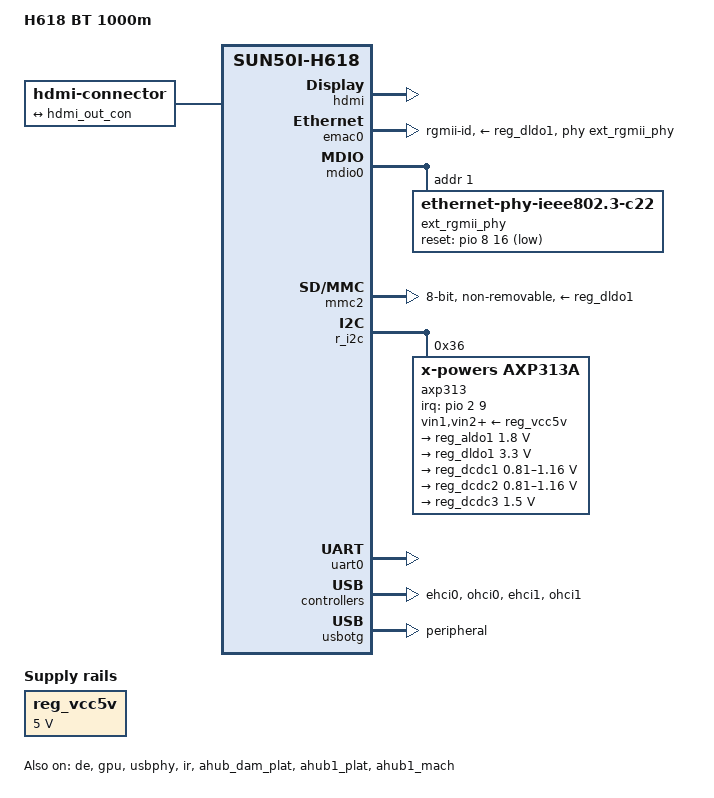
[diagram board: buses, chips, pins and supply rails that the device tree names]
// SPDX-License-Identifier: (GPL-2.0+ OR MIT)

/dts-v1/;

#include "sun50i-h616.dtsi"
#include "sun50i-h616-cpu-opp.dtsi"
#include <dt-bindings/gpio/gpio.h>
#include <dt-bindings/interrupt-controller/arm-gic.h>

/ {
	model = "H618 BT 1000m";
	compatible = "h618,bt-1000m", "allwinner,sun50i-h618";

	aliases {
		ethernet0 = &emac0;
		mmc2 = &mmc2;
		serial0 = &uart0;
	};

	chosen {
		stdout-path = "serial0:115200n8";
	};

	/* HDMI connector (Type-A) */
	connector {
		compatible = "hdmi-connector";
		type = "a";

		port {
			hdmi_con_in: endpoint {
				remote-endpoint = <&hdmi_out_con>;
			};
		};
	};

	/* Board 5 V rail coming from the DC jack */
	reg_vcc5v: regulator-vcc5v {
		compatible = "regulator-fixed";
		regulator-name = "vcc-5v";
		regulator-min-microvolt = <5000000>;
		regulator-max-microvolt = <5000000>;
		regulator-always-on;
	};

};

&cpu0 {
	cpu-supply = <&reg_dcdc2>;
};

&de {
	status = "okay";
};

&gpu {
	mali-supply = <&reg_dcdc1>;
	status = "okay";
};

&hdmi {
	hvcc-supply = <&reg_aldo1>;
	status = "okay";
};

&hdmi_out {
	hdmi_out_con: endpoint {
		remote-endpoint = <&hdmi_con_in>;
	};
};

&emac0 {
	pinctrl-names = "default";
	pinctrl-0 = <&ext_rgmii_pins>;
	phy-mode = "rgmii-id";
	phy-handle = <&ext_rgmii_phy>;
	phy-supply = <&reg_dldo1>;
	status = "okay";
};

/* Override dtsi default to include PI6 (EMAC0_TXCLK) needed by this board */
&ext_rgmii_pins {
	pins = "PI0", "PI1", "PI2", "PI3", "PI4", "PI5", "PI6",
	       "PI7", "PI8", "PI9", "PI10", "PI11", "PI12",
	       "PI13", "PI14", "PI15";
};

&mdio0 {
	ext_rgmii_phy: ethernet-phy@1 {
		compatible = "ethernet-phy-ieee802.3-c22";
		reg = <1>;
		reset-gpios = <&pio 8 16 GPIO_ACTIVE_LOW>;	/* PI16 */
		reset-assert-us = <30000>;
		reset-deassert-us = <150000>;
	};
};

&mmc2 {
	vmmc-supply = <&reg_dldo1>;
	vqmmc-supply = <&reg_aldo1>;
	bus-width = <8>;
	non-removable;
	cap-mmc-hw-reset;
	mmc-ddr-1_8v;
	mmc-hs200-1_8v;
	status = "okay";
};

&pio {
	vcc-pc-supply = <&reg_aldo1>; /* PC bank feeds eMMC (1.8 V) */
	vcc-ph-supply = <&reg_dldo1>;
	vcc-pi-supply = <&reg_dldo1>; /* PI bank: RMII lines */
};


&r_i2c {
	status = "okay";

	axp313: pmic@36 {
		compatible = "x-powers,axp313a";
		reg = <0x36>;
		#interrupt-cells = <1>;
		interrupt-controller;
		interrupt-parent = <&pio>;
		interrupts = <2 9 IRQ_TYPE_LEVEL_LOW>;	/* PC9 */

		vin1-supply = <&reg_vcc5v>;
		vin2-supply = <&reg_vcc5v>;
		vin3-supply = <&reg_vcc5v>;

		regulators {

			reg_aldo1: aldo1 {
				regulator-always-on;
				regulator-min-microvolt = <1800000>;
				regulator-max-microvolt = <1800000>;
				regulator-name = "vcc1v8";
			};

			reg_dldo1: dldo1 {
				regulator-always-on;
				regulator-min-microvolt = <3300000>;
				regulator-max-microvolt = <3300000>;
				regulator-name = "vcc3v3";
			};

			reg_dcdc1: dcdc1 {
				regulator-always-on;
				regulator-min-microvolt = <810000>;
				regulator-max-microvolt = <1160000>;
				regulator-step-delay-us = <25>;
				regulator-final-delay-us = <50>;
				regulator-name = "vdd-gpu-sys";
			};

			reg_dcdc2: dcdc2 {
				regulator-always-on;
				regulator-min-microvolt = <810000>;
				regulator-max-microvolt = <1160000>;
				regulator-step-delay-us = <25>;
				regulator-final-delay-us = <50>;
				regulator-ramp-delay = <200>;
				regulator-name = "vdd-cpu";
			};

			reg_dcdc3: dcdc3 {
				regulator-always-on;
				regulator-min-microvolt = <1500000>;
				regulator-max-microvolt = <1500000>;
				regulator-step-delay-us = <25>;
				regulator-final-delay-us = <50>;
				regulator-name = "vdd-dram";
			};
		};
	};
};

&uart0 {
	pinctrl-names = "default";
	pinctrl-0 = <&uart0_ph_pins>;
	status = "okay";
};

&ehci0 {
	status = "okay";
};

&ohci0 {
	status = "okay";
};

&ehci1 {
	status = "okay";
};

&ohci1 {
	status = "okay";
};

&usbotg {
	dr_mode = "peripheral";
	status = "okay";
};

&usbphy {
	usb1_vbus-supply = <&reg_vcc5v>;
	status = "okay";
};

&ir {
	status = "okay";
};

&ahub_dam_plat {
	status = "okay";
};

&ahub1_plat {
	status = "okay";
};

&ahub1_mach {
	status = "okay";
};
